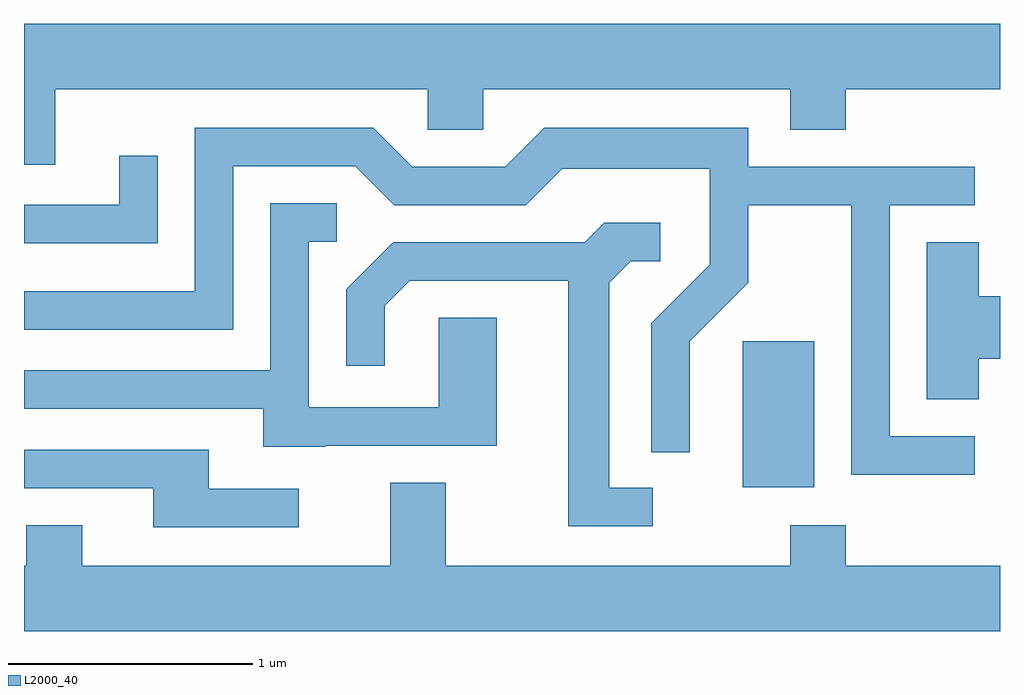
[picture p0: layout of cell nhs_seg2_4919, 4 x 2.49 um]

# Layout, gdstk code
import gdstk
lib = gdstk.Library(unit=1e-6, precision=1e-09)
def R(c, l, rs):  # rectangles x0, y0, x1, y1
    for r in rs: c.add(gdstk.rectangle(r[:2], r[2:], *l))
def P(c, l, *ps):  # polygons
    for p in ps: c.add(gdstk.Polygon(p, *l))
L2000_40 = (2000, 40)

nhs_seg2_4919 = lib.new_cell('nhs_seg2_4919')
R(nhs_seg2_4919, L2000_40, [(332.556,1073.326,332.849,1073.924)])
P(nhs_seg2_4919, L2000_40, [(329.739,1074.956),(331.266,1074.956),(331.266,1074.791),(331.494,1074.791),(331.494,1074.956),(332.751,1074.956),(332.751,1074.791),(332.979,1074.791),(332.979,1074.956),(333.611,1074.956),(333.611,1075.224),(329.611,1075.224),(329.611,1074.646),(329.739,1074.646)],
  [(333.508,1073.534),(333.159,1073.534),(333.159,1074.481),(333.508,1074.481),(333.508,1074.639),(332.579,1074.639),(332.579,1074.799),(331.744,1074.799),(331.584,1074.639),(331.202,1074.639),(331.042,1074.799),(330.311,1074.799),(330.311,1074.129),(329.611,1074.129),(329.611,1073.971),(330.469,1073.971),(330.469,1074.641),(330.969,1074.641),(331.129,1074.481),(331.667,1074.481),(331.817,1074.631),(332.421,1074.631),(332.421,1074.237),(332.181,1073.997),(332.181,1073.468),(332.339,1073.468),(332.339,1073.924),(332.579,1074.164),(332.579,1074.481),(333.001,1074.481),(333.001,1073.376),(333.508,1073.376)],
  [(330.159,1074.683),(330.001,1074.683),(330.001,1074.484),(329.611,1074.484),(329.611,1074.326),(330.159,1074.326)],
  [(330.845,1073.496),(331.549,1073.496),(331.549,1074.019),(331.311,1074.019),(331.311,1073.654),(330.779,1073.654),(330.779,1074.331),(330.893,1074.331),(330.893,1074.489),(330.621,1074.489),(330.621,1073.804),(329.611,1073.804),(329.611,1073.646),(330.591,1073.646),(330.591,1073.491),(330.845,1073.491)],
  [(332.188,1073.324),(332.009,1073.324),(332.009,1074.164),(332.097,1074.251),(332.218,1074.251),(332.218,1074.409),(331.989,1074.409),(331.909,1074.329),(331.124,1074.329),(330.931,1074.137),(330.931,1073.823),(331.089,1073.823),(331.089,1074.069),(331.192,1074.171),(331.841,1074.171),(331.841,1073.166),(332.188,1073.166)],
  [(333.524,1073.851),(333.611,1073.851),(333.611,1074.109),(333.524,1074.109),(333.524,1074.329),(333.311,1074.329),(333.311,1073.686),(333.524,1073.686)],
  [(330.738,1073.319),(330.369,1073.319),(330.369,1073.479),(329.611,1073.479),(329.611,1073.321),(330.141,1073.321),(330.141,1073.161),(330.738,1073.161)],
  [(333.611,1073.004),(332.979,1073.004),(332.979,1073.169),(332.751,1073.169),(332.751,1073.004),(331.339,1073.004),(331.339,1073.344),(331.111,1073.344),(331.111,1073.004),(329.849,1073.004),(329.849,1073.169),(329.621,1073.169),(329.621,1073.004),(329.611,1073.004),(329.611,1072.736),(333.611,1072.736)])

lib.write_gds('nhs_seg2_4919.gds')
